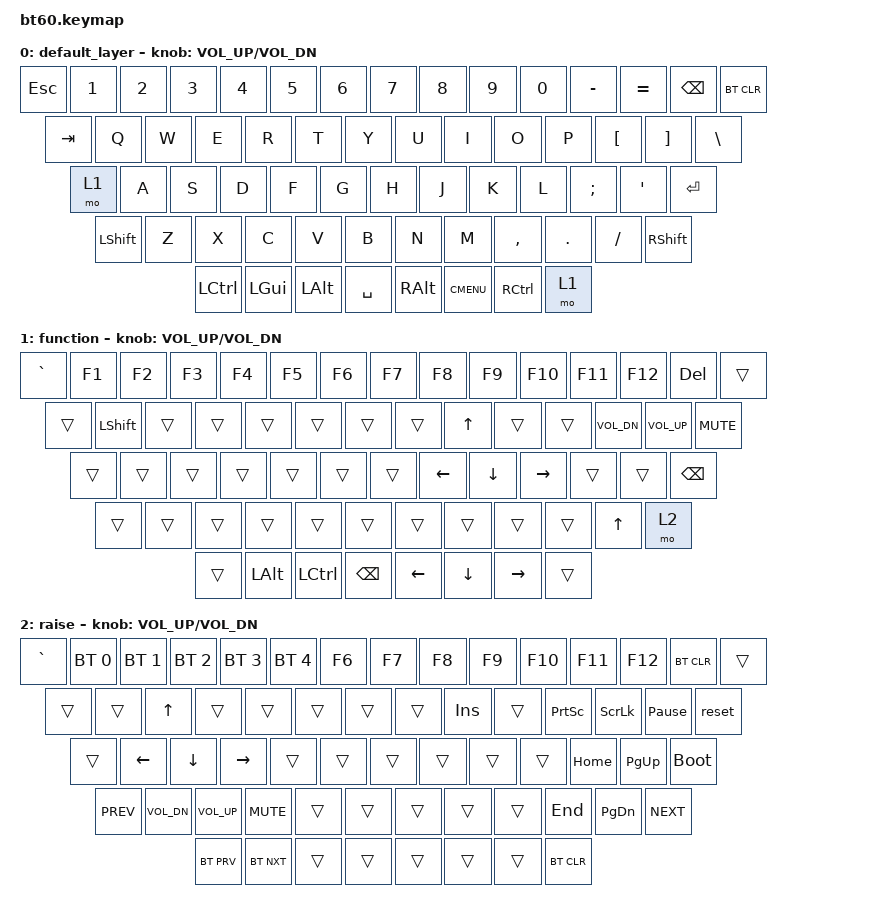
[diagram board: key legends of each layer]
#include <behaviors.dtsi>
#include <dt-bindings/zmk/keys.h>
#include <dt-bindings/zmk/bt.h>

/ {
	keymap {
		compatible = "zmk,keymap";

		default_layer {
				// ------------------------------------------------------------------------------------------
				// | ESC |  1  |  2  |  3  |  4  |  5  |  6  |  7  |  8  |  9  |  0  |  -  |  =  |   BKSP   | DEL
				// | TAB  |  Q  |  W  |  E  |  R  |  T  |  Y  |  U  |  I  |  O  |  P  |  [  |  ]  |   |    |
				// | CAPS  |  A  |  S  |  D  |  F  |  G  |  H  |  J  |  K  |  L  |  ;  |  '  |     ENTER    |
				// |  SHIFT    |  Z  |  X  |  C  |  V  |  B  |  N  |  M  |  ,  |  .  | /   |      SHIFT     |
				// |  CTL  |  WIN  |  ALT  |            SPACE               | ALT | 1    |  MENU    |  CTRL    |
				// ------------------------------------------------------------------------------------------
			bindings = <
				&kp ESC &kp N1 &kp N2 &kp N3 &kp N4 &kp N5 &kp N6 &kp N7 &kp  N8   &kp  N9 &kp  N0  &kp MINUS &kp EQUAL &kp BSPC &bt BT_CLR
				&kp TAB  &kp Q  &kp W  &kp E  &kp R  &kp T  &kp Y  &kp U  &kp  I    &kp  O  &kp  P   &kp LBKT &kp RBKT  &kp BSLH
				&mo 1  &kp A  &kp S  &kp D  &kp F  &kp G  &kp H  &kp J  &kp  K    &kp  L  &kp SEMI &kp SQT           &kp RET
				&kp LSHFT  &kp Z  &kp X  &kp C  &kp V  &kp B  &kp N  &kp M  &kp COMMA &kp DOT &kp FSLH             &kp RSHFT
				&kp LCTRL &kp LGUI &kp LALT            &kp SPACE                          &kp RALT  &kp K_CMENU &kp RCTRL &mo 1
			>;
			sensor-bindings = <&inc_dec_kp C_VOL_UP C_VOL_DN>;
		};
		function {
			bindings = <
				&kp GRAVE &kp F1 &kp F2 &kp F3 &kp F4 &kp F5 &kp F6 &kp F7 &kp  F8   &kp  F9 &kp  F10  &kp F11 &kp F12   &kp DEL &trans
				&trans &kp LSHFT &trans &trans &trans &trans &trans &trans &kp UP &trans &trans &kp C_VOL_DN &kp C_VOL_UP &kp C_MUTE
				&trans    &trans &trans &trans &trans &trans &trans &kp LEFT &kp DOWN &kp RIGHT &trans  &trans   &kp BSPC
				&trans &trans &trans &trans &trans &trans &trans &trans &trans &trans &kp UP  &mo 2
				&trans &kp LALT  &kp LCTRL              &kp BSPC                            &kp LEFT   &kp DOWN   &kp RIGHT &trans
			>;
			sensor-bindings = <&inc_dec_kp C_VOL_UP C_VOL_DN>;
		};
		raise {
			bindings = <
				&kp GRAVE &bt BT_SEL 0 &bt BT_SEL 1 &bt BT_SEL 2 &bt BT_SEL 3 &bt BT_SEL 4 &kp F6 &kp F7 &kp  F8   &kp  F9 &kp  F10  &kp F11 &kp F12   &bt BT_CLR &trans
				&trans &trans &kp UP &trans &trans &trans &trans &trans &kp INS &trans &kp PSCRN &kp SLCK &kp PAUSE_BREAK &reset
				&trans    &kp LEFT &kp DOWN &kp RIGHT &trans &trans &trans &trans &trans &trans &kp HOME  &kp PG_UP   &bootloader
				&kp C_PREV &kp C_VOL_DN &kp C_VOL_UP &kp C_MUTE &trans &trans &trans &trans &trans &kp END &kp PG_DN  &kp C_NEXT
				&bt BT_PRV &bt BT_NXT  &trans              &trans                            &trans   &trans   &trans &bt BT_CLR
			>;
			sensor-bindings = <&inc_dec_kp C_VOL_UP C_VOL_DN>;
		};
	};
};
